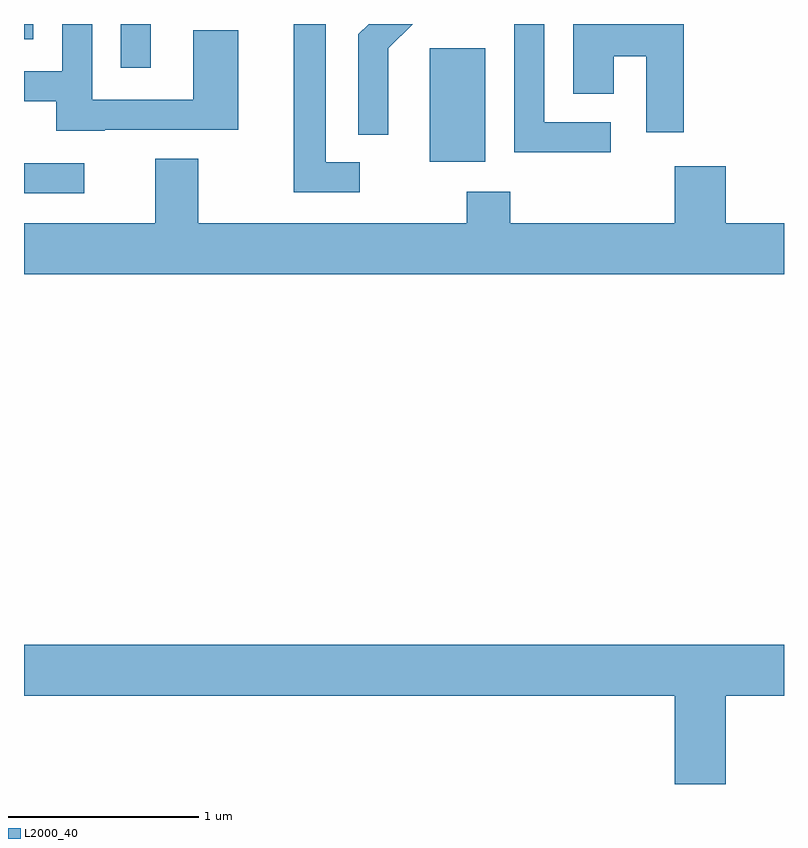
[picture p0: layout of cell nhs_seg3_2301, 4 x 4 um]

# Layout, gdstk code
import gdstk
lib = gdstk.Library(unit=1e-6, precision=1e-09)
def R(c, l, rs):  # rectangles x0, y0, x1, y1
    for r in rs: c.add(gdstk.rectangle(r[:2], r[2:], *l))
def P(c, l, *ps):  # polygons
    for p in ps: c.add(gdstk.Polygon(p, *l))
L2000_40 = (2000, 40)

nhs_seg3_2301 = lib.new_cell('nhs_seg3_2301')
R(nhs_seg3_2301, L2000_40, [(251.611,1233.001,251.928,1233.159), (253.746,1233.166,254.039,1233.764), (252.121,1233.663,252.279,1233.892), (251.611,1233.811,251.659,1233.892)])
P(nhs_seg3_2301, L2000_40, [(252.035,1233.336),(252.739,1233.336),(252.739,1233.859),(252.501,1233.859),(252.501,1233.494),(251.969,1233.494),(251.969,1233.892),(251.811,1233.892),(251.811,1233.644),(251.611,1233.644),(251.611,1233.486),(251.781,1233.486),(251.781,1233.331),(252.035,1233.331)],
  [(255.084,1233.892),(254.501,1233.892),(254.501,1233.526),(254.714,1233.526),(254.714,1233.721),(254.886,1233.721),(254.886,1233.321),(255.084,1233.321)],
  [(253.378,1233.164),(253.199,1233.164),(253.199,1233.892),(253.031,1233.892),(253.031,1233.006),(253.378,1233.006)],
  [(253.529,1233.764),(253.657,1233.892),(253.426,1233.892),(253.371,1233.837),(253.371,1233.308),(253.529,1233.308)],
  [(254.698,1233.374),(254.349,1233.374),(254.349,1233.892),(254.191,1233.892),(254.191,1233.216),(254.698,1233.216)],
  [(255.611,1232.844),(255.304,1232.844),(255.304,1233.144),(255.036,1233.144),(255.036,1232.844),(254.169,1232.844),(254.169,1233.009),(253.941,1233.009),(253.941,1232.844),(252.529,1232.844),(252.529,1233.184),(252.301,1233.184),(252.301,1232.844),(251.611,1232.844),(251.611,1232.576),(255.611,1232.576)],
  [(255.304,1230.356),(255.611,1230.356),(255.611,1230.624),(251.611,1230.624),(251.611,1230.356),(255.036,1230.356),(255.036,1229.892),(255.304,1229.892)])

lib.write_gds('nhs_seg3_2301.gds')
